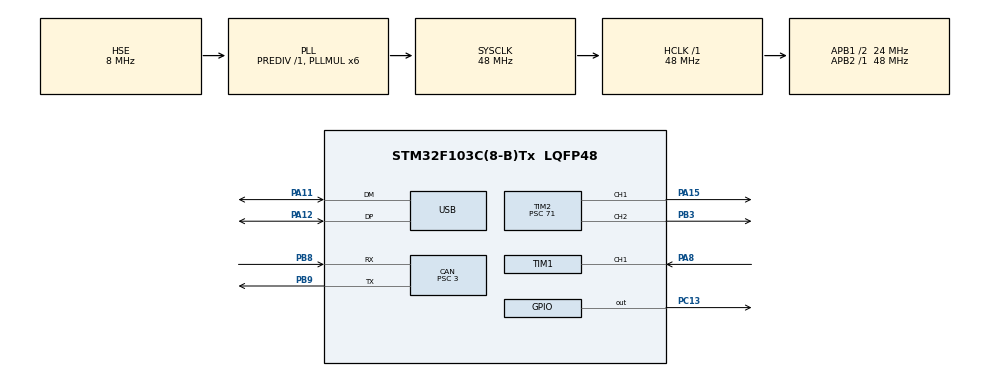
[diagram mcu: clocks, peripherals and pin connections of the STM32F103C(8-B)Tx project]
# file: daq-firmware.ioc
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CAN.ABOM=ENABLE
CAN.BS1=CAN_BS1_3TQ
CAN.BS2=CAN_BS2_4TQ
CAN.CalculateBaudRate=1000000
CAN.CalculateTimeBit=1000
CAN.CalculateTimeQuantum=125.0
CAN.NART=ENABLE
CAN.Prescaler=3
Mcu.Family=STM32F1
Mcu.Name=STM32F103C(8-B)Tx
Mcu.Package=LQFP48
NVIC.CAN1_RX1_IRQn=true\:0\:0\:false\:false\:true\:true\:true\:true
NVIC.PriorityGroup=NVIC_PRIORITYGROUP_4
NVIC.TIM1_CC_IRQn=true\:0\:0\:false\:false\:true\:true\:true\:true
NVIC.USB_HP_CAN1_TX_IRQn=true\:0\:0\:false\:false\:true\:true\:true\:true
NVIC.USB_LP_CAN1_RX0_IRQn=true\:0\:0\:false\:false\:true\:false\:true\:true
PA11.Mode=Device
PA11.Signal=USB_DM
PA12.Mode=Device
PA12.Signal=USB_DP
PA13.Mode=Serial_Wire
PA13.Signal=SYS_JTMS-SWDIO
PA14.Mode=Serial_Wire
PA14.Signal=SYS_JTCK-SWCLK
PA15.Signal=S_TIM2_CH1_ETR
PA8.Signal=S_TIM1_CH1
PB3.Signal=S_TIM2_CH2
PB8.Mode=CAN_Activate
PB8.Signal=CAN_RX
PB9.Mode=CAN_Activate
PB9.Signal=CAN_TX
PC13-TAMPER-RTC.GPIO_ModeDefaultOutputPP=GPIO_MODE_OUTPUT_PP
PC13-TAMPER-RTC.GPIO_PuPd=GPIO_PULLDOWN
PC13-TAMPER-RTC.PinState=GPIO_PIN_RESET
PC13-TAMPER-RTC.Signal=GPIO_Output
PC14-OSC32_IN.Mode=LSE-External-Clock-Source
PC14-OSC32_IN.Signal=RCC_OSC32_IN
PC15-OSC32_OUT.Mode=LSE-External-Clock-Source
PC15-OSC32_OUT.Signal=RCC_OSC32_OUT
PD0-OSC_IN.Mode=HSE-External-Oscillator
PD0-OSC_IN.Signal=RCC_OSC_IN
PD1-OSC_OUT.Mode=HSE-External-Oscillator
PD1-OSC_OUT.Signal=RCC_OSC_OUT
ProjectManager.HeapSize=0x200
ProjectManager.StackSize=0x400
ProjectManager.TargetToolchain=CMake
RCC.ADCPresc=RCC_ADCPCLK2_DIV6
RCC.AHBFreq_Value=48000000
RCC.APB1CLKDivider=RCC_HCLK_DIV2
RCC.APB1Freq_Value=24000000
RCC.APB1TimFreq_Value=48000000
RCC.APB2Freq_Value=48000000
RCC.APB2TimFreq_Value=48000000
RCC.HCLKFreq_Value=48000000
RCC.PLLMUL=RCC_PLL_MUL6
RCC.SYSCLKFreq_VALUE=48000000
RCC.SYSCLKSource=RCC_SYSCLKSOURCE_PLLCLK
RCC.USBFreq_Value=48000000
SH.S_TIM1_CH1.0=TIM1_CH1,Input_Capture1_from_TI1
SH.S_TIM2_CH1_ETR.0=TIM2_CH1,PWM Generation1 CH1
SH.S_TIM2_CH2.0=TIM2_CH2,PWM Generation2 CH2
TIM1.Channel-Input_Capture1_from_TI1=TIM_CHANNEL_1
TIM1.Prescaler=7199
TIM2.AutoReloadPreload=TIM_AUTORELOAD_PRELOAD_ENABLE
TIM2.Channel-PWM\ Generation1\ CH1=TIM_CHANNEL_1
TIM2.Channel-PWM\ Generation2\ CH2=TIM_CHANNEL_2
TIM2.OCPolarity_1=TIM_OCPOLARITY_HIGH
TIM2.OCPolarity_2=TIM_OCPOLARITY_LOW
TIM2.Period=499
TIM2.Prescaler=71
USB_DEVICE.CLASS_NAME_FS=CDC
USB_DEVICE.VirtualMode=Cdc
USB_DEVICE.VirtualModeFS=Cdc_FS
VP_TIM1_VS_ClockSourceINT.Mode=Internal
VP_TIM2_VS_ClockSourceINT.Mode=Internal
VP_USB_DEVICE_VS_USB_DEVICE_CDC_FS.Mode=CDC_FS
board=custom

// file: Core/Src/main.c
/* USER CODE BEGIN Header */
/**
 ******************************************************************************
 * @file           : main.c
 * @brief          : Main program body
 ******************************************************************************
 * @attention
 *
 * Copyright (c) 2025 STMicroelectronics.
 * All rights reserved.
 *
 * This software is licensed under terms that can be found in the LICENSE file
 * in the root directory of this software component.
 * If no LICENSE file comes with this software, it is provided AS-IS.
 *
 ******************************************************************************
 */
/* USER CODE END Header */
#include "main.h"

#include "can.h"
#include "gpio.h"
#include "tim.h"
#include "usb_device.h"

/* USER CODE BEGIN Includes */
#include <stdbool.h>

#include "SEGGER_RTT.h"
#include "Sensors.h"
#include "can_addr_def.h"
/* USER CODE END Includes */

/* USER CODE BEGIN PD */
#define PWM_STEP_PCT 1              // percentage increase per step (1 %)
#define PWM_STEP_INTERVAL_MS 100    // ms between steps  -> 100 steps x 100ms = 10 s total ramp
#define DAQ_REPORT_INTERVAL_MS 500  // how often to broadcast DAQ_DATA frame
/* USER CODE END PD */

/* USER CODE BEGIN PV */
extern volatile uint16_t g_inv_left_voltage;
extern volatile uint16_t g_inv_right_voltage;
extern volatile uint16_t g_bms_voltage;
extern volatile bool g_voltage_received;
extern volatile bool g_daq_enabled;
extern uint8_t DAQData_to_DataLogger[8];
extern uint8_t FAN_PWM;
extern uint8_t PUMP_PWM;

/* USER CODE END PV */

void SystemClock_Config(void);

/* USER CODE BEGIN 0 */
static void DAQ_SendReport(void) {
  DAQData_to_DataLogger[CA_DAQ_PRE_TEMP] = 0;
  DAQData_to_DataLogger[CA_DAQ_POST_TEMP] = 0;
  DAQData_to_DataLogger[CA_DAQ_PRESSURE_H] = 0;
  DAQData_to_DataLogger[CA_DAQ_PRESSURE_L] = 0;
  DAQData_to_DataLogger[CA_DAQ_FLOW_RATE_H] = 0;
  DAQData_to_DataLogger[CA_DAQ_FLOW_RATE_L] = 0;
  DAQData_to_DataLogger[CA_DAQ_FAN_PWM] = FAN_PWM;
  DAQData_to_DataLogger[CA_DAQ_PUMP_PWM] = PUMP_PWM;

  if (g_daq_enabled) {
    CAN_SendMsg(CA_DAQ_DATA, DAQData_to_DataLogger);
  }
}
/* USER CODE END 0 */

int main(void) {

  /* MCU Configuration--------------------------------------------------------*/

  /* Reset of all peripherals, Initializes the Flash interface and the Systick. */
  HAL_Init();

  /* USER CODE BEGIN Init */
  SEGGER_RTT_Init();
  /* USER CODE END Init */

  /* Configure the system clock */
  SystemClock_Config();

  /* Initialize all configured peripherals */
  MX_GPIO_Init();
  MX_TIM1_Init();
  MX_CAN_Init();
  MX_TIM2_Init();
  MX_USB_DEVICE_Init();
  /* USER CODE BEGIN 2 */
  HAL_Delay(500);
  SEGGER_RTT_printf(0, "Today is 5/4.\n");
  SEGGER_RTT_printf(0, "DAQ start\n");

  bsp_can1_filter_config();
  HAL_CAN_Start(&hcan);
  HAL_CAN_ActivateNotification(&hcan, CAN_IT_RX_FIFO0_MSG_PENDING);  // start RX interrupt

  HAL_TIM_PWM_Start(&htim2, TIM_CHANNEL_1);  // PUMP
  HAL_TIM_PWM_Start(&htim2, TIM_CHANNEL_2);  // FAN

  SetFanDuty(10);
  SetPumpDuty(10);

  // MODE 1: Wait for at least one voltage frame from inverter / BMS
  SEGGER_RTT_printf(0, "DAQ waiting for voltage frames...\n");
  uint8_t wait_start = HAL_GetTick();
  while (!g_voltage_received) {
    if (HAL_GetTick() - wait_start > 5000) break;  // waiting for 5 seconds
    HAL_GPIO_TogglePin(GPIOC, GPIO_PIN_13);        // blink LED while waiting
    HAL_Delay(200);
  }
  SEGGER_RTT_printf(0, "DAQ voltage received! INV_L=%d INV_R=%d BMS=%d (x0.1V)\n", g_inv_left_voltage,
                    g_inv_right_voltage, g_bms_voltage);

  // MODE 2: Ramp PWM from 0 % to 100 %
  SEGGER_RTT_printf(0, "DAQ starting PWM ramp...\n");

  uint8_t current_pwm = 10;
  uint32_t last_step_tick = HAL_GetTick();
  uint32_t last_rpt_tick = HAL_GetTick();

  while (current_pwm < 100) {
    uint32_t now = HAL_GetTick();

    // Increment PWM one step every PWM_STEP_INTERVAL_MS
    if (now - last_step_tick >= PWM_STEP_INTERVAL_MS) {
      current_pwm += PWM_STEP_PCT;
      if (current_pwm > 100) current_pwm = 100;
      SetFanDuty(current_pwm);
      SetPumpDuty(current_pwm);
      last_step_tick = now;
      SEGGER_RTT_printf(0, "DAQ PWM updated: %d%%\n", current_pwm);
      HAL_GPIO_TogglePin(GPIOC, GPIO_PIN_13);
    }
    // Report over CAN at a slower rate during ramp
    if (now - last_rpt_tick >= DAQ_REPORT_INTERVAL_MS) {
      DAQ_SendReport();
      last_rpt_tick = now;
    }
  }
  SEGGER_RTT_printf(0, "DAQ ramp complete – PWM at 100%%\n");
  /* USER CODE END 2 */

  /* Infinite loop */
  /* USER CODE BEGIN WHILE */
  uint32_t last_rpt_tick2 = HAL_GetTick();
  while (1) {
    /* USER CODE END WHILE */
    uint32_t now = HAL_GetTick();
    if (now - last_rpt_tick2 >= DAQ_REPORT_INTERVAL_MS) {
      DAQ_SendReport();
      HAL_GPIO_TogglePin(GPIOC, GPIO_PIN_13);
      SEGGER_RTT_printf(0, "DAQ INV_L=%d INV_R=%d BMS=%d FAN=%d%% PUMP=%d%%\n", g_inv_left_voltage,
                        g_inv_right_voltage, g_bms_voltage, FAN_PWM, PUMP_PWM);
      last_rpt_tick2 = now;
    }

  }
}

void SystemClock_Config(void) {
  RCC_OscInitTypeDef RCC_OscInitStruct = {0};
  RCC_ClkInitTypeDef RCC_ClkInitStruct = {0};
  RCC_PeriphCLKInitTypeDef PeriphClkInit = {0};

  /** Initializes the RCC Oscillators according to the specified parameters
   * in the RCC_OscInitTypeDef structure.
   */
  RCC_OscInitStruct.OscillatorType = RCC_OSCILLATORTYPE_HSE;
  RCC_OscInitStruct.HSEState = RCC_HSE_ON;
  RCC_OscInitStruct.HSEPredivValue = RCC_HSE_PREDIV_DIV1;
  RCC_OscInitStruct.HSIState = RCC_HSI_ON;
  RCC_OscInitStruct.PLL.PLLState = RCC_PLL_ON;
  RCC_OscInitStruct.PLL.PLLSource = RCC_PLLSOURCE_HSE;
  RCC_OscInitStruct.PLL.PLLMUL = RCC_PLL_MUL6;
  if (HAL_RCC_OscConfig(&RCC_OscInitStruct) != HAL_OK) {
    Error_Handler();
  }

  /** Initializes the CPU, AHB and APB buses clocks
   */
  RCC_ClkInitStruct.ClockType =
      RCC_CLOCKTYPE_HCLK | RCC_CLOCKTYPE_SYSCLK | RCC_CLOCKTYPE_PCLK1 | RCC_CLOCKTYPE_PCLK2;
  RCC_ClkInitStruct.SYSCLKSource = RCC_SYSCLKSOURCE_PLLCLK;
  RCC_ClkInitStruct.AHBCLKDivider = RCC_SYSCLK_DIV1;
  RCC_ClkInitStruct.APB1CLKDivider = RCC_HCLK_DIV2;
  RCC_ClkInitStruct.APB2CLKDivider = RCC_HCLK_DIV1;

  if (HAL_RCC_ClockConfig(&RCC_ClkInitStruct, FLASH_LATENCY_1) != HAL_OK) {
    Error_Handler();
  }
  PeriphClkInit.PeriphClockSelection = RCC_PERIPHCLK_USB;
  PeriphClkInit.UsbClockSelection = RCC_USBCLKSOURCE_PLL;
  if (HAL_RCCEx_PeriphCLKConfig(&PeriphClkInit) != HAL_OK) {
    Error_Handler();
  }
}

void Error_Handler(void) {
  __disable_irq();
  while (1) {
  }
}
